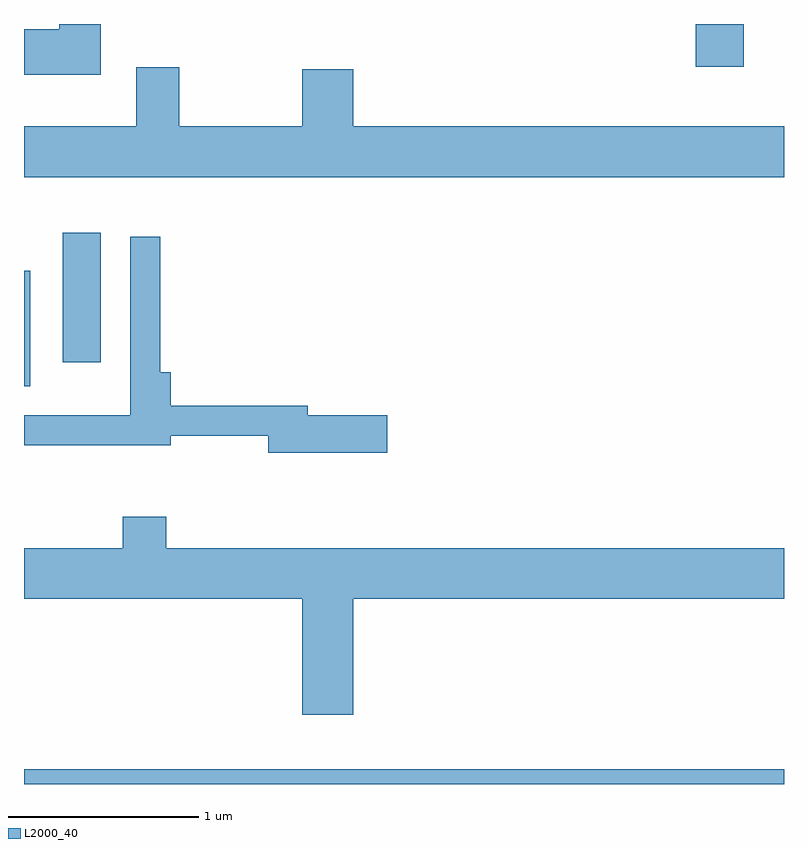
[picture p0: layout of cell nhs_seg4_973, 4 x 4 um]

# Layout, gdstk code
import gdstk
lib = gdstk.Library(unit=1e-6, precision=1e-09)
def R(c, l, rs):  # rectangles x0, y0, x1, y1
    for r in rs: c.add(gdstk.rectangle(r[:2], r[2:], *l))
def P(c, l, *ps):  # polygons
    for p in ps: c.add(gdstk.Polygon(p, *l))
L2000_40 = (2000, 40)

nhs_seg4_973 = lib.new_cell('nhs_seg4_973')
R(nhs_seg4_973, L2000_40, [(213.611,1295.982,217.611,1296.059), (213.611,1298.076,213.644,1298.684), (213.816,1298.201,214.014,1298.884), (217.146,1299.756,217.399,1299.982)])
P(nhs_seg4_973, L2000_40, [(214.014,1299.982),(213.796,1299.982),(213.796,1299.954),(213.611,1299.954),(213.611,1299.716),(214.014,1299.716)],
  [(217.611,1299.444),(215.344,1299.444),(215.344,1299.744),(215.076,1299.744),(215.076,1299.444),(214.429,1299.444),(214.429,1299.754),(214.201,1299.754),(214.201,1299.444),(213.611,1299.444),(213.611,1299.176),(217.611,1299.176)],
  [(215.524,1297.924),(215.104,1297.924),(215.104,1297.974),(214.384,1297.974),(214.384,1298.149),(214.329,1298.149),(214.329,1298.863),(214.171,1298.863),(214.171,1297.924),(213.611,1297.924),(213.611,1297.766),(214.384,1297.766),(214.384,1297.816),(214.896,1297.816),(214.896,1297.726),(215.524,1297.726)],
  [(215.344,1296.956),(217.611,1296.956),(217.611,1297.224),(214.359,1297.224),(214.359,1297.389),(214.131,1297.389),(214.131,1297.224),(213.611,1297.224),(213.611,1296.956),(215.076,1296.956),(215.076,1296.346),(215.344,1296.346)])

lib.write_gds('nhs_seg4_973.gds')
